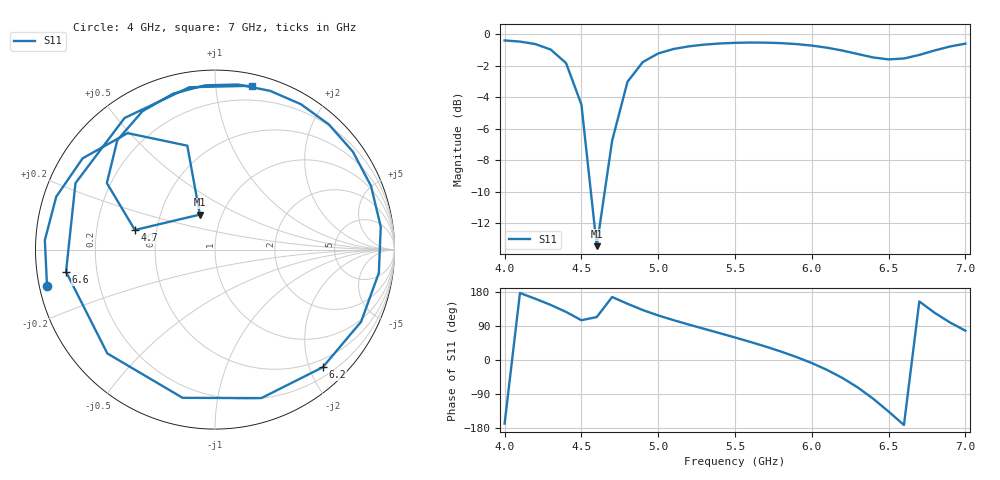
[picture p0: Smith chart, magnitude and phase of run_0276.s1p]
! Touchstone file exported from HFSS 2024.2.0
!  File:  C:/Users/wsak9/Desktop/Sim Fast/Widenad Patch/WP_AI_V1_sweep.aedt
!  Generated:  02:36:45 AM Oct 14, 2026
!  Design:  A1_model
!  Project:  WP_AI_V1_sweep
!  Setup:  Setup1
!  Solution:  Sweep
! Variables:
!  Air_gap = 4.97mm
!  Curve_Amp1 = 1.9
!  Curve_len1 = 1
!  Curve_pos = 12.645mm
!  Extra = 4.4mm
!  H_sub = 0.79mm
!  L_Patch = 21.29mm
!  L_Patch1 = 13.27mm
!  Sx = 4.97mm
!  Sy = 0.4mm
!  WS = 0.41mm
!  W_Patch = 13.76mm
!  W_Patch1 = 8.87mm
!Data is not renormalized
# GHz S MA
! Terminal data exported
! Port[1] = 1
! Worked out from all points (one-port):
!   31 points, 4 GHz to 7 GHz, reference per port
!   lowest |S11| = -13.5 dB at 4.6 GHz (marker M1), VSWR 1.54
!   |S11| at or under -10 dB: 4.562 GHz to 4.652 GHz (89.85 MHz wide, 1.95 % of centre)
!   S11 on the Smith chart (normalised r, x): 4 GHz: 0.02, -0.11; 4.7 GHz: 0.37, +0.10; 6.2 GHz: 0.36, -2.22; 6.6 GHz: 0.09, -0.07; 7 GHz: 0.09, +1.25
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4  0.9573 -167.9
4.1  0.9494 176.8
4.2  0.9323 161.6
4.3  0.8958 145.4
4.4  0.8112 126.9
4.5  0.5992 104.9
4.6  0.2126 113.4
4.7  0.4596 166.2
4.8  0.7074 148.4
4.9  0.8176 131.7
5  0.8705 117.6
5.1  0.8993 105.1
5.2  0.9169 93.4
5.3  0.9285 82.1
5.5  0.9409 59.5
5.7  0.9421 35.4
5.9  0.9322 7.9
6  0.9221 -8.1
6.1  0.9078 -26.3
6.2  0.8889 -47.5
6.3  0.8667 -72.7
6.4  0.8454 -102.3
6.5  0.8335 -136.0
6.6  0.839 -171.5
6.7  0.861 154.5
6.8  0.8898 124.5
6.9  0.9159 99.0
7  0.9353 77.4
